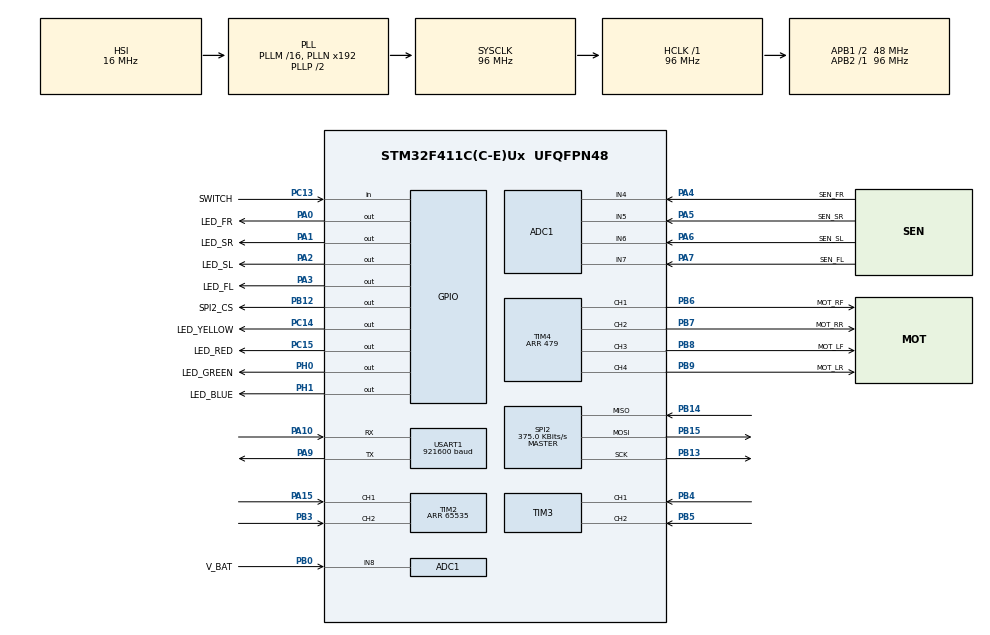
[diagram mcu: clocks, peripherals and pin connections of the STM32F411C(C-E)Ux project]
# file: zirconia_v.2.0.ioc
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ADC1.Channel-0\#ChannelRegularConversion=ADC_CHANNEL_8
ADC1.Channel-1\#ChannelRegularConversion=ADC_CHANNEL_8
ADC1.Channel-10\#ChannelRegularConversion=ADC_CHANNEL_8
ADC1.Channel-11\#ChannelRegularConversion=ADC_CHANNEL_8
ADC1.Channel-2\#ChannelRegularConversion=ADC_CHANNEL_4
ADC1.Channel-3\#ChannelRegularConversion=ADC_CHANNEL_4
ADC1.Channel-4\#ChannelRegularConversion=ADC_CHANNEL_7
ADC1.Channel-5\#ChannelRegularConversion=ADC_CHANNEL_7
ADC1.Channel-6\#ChannelRegularConversion=ADC_CHANNEL_5
ADC1.Channel-7\#ChannelRegularConversion=ADC_CHANNEL_5
ADC1.Channel-8\#ChannelRegularConversion=ADC_CHANNEL_6
ADC1.Channel-9\#ChannelRegularConversion=ADC_CHANNEL_6
ADC1.DMAContinuousRequests=ENABLE
ADC1.DiscontinuousConvMode=ENABLE
ADC1.EOCSelection=ADC_EOC_SEQ_CONV
ADC1.ExternalTrigConv=ADC_EXTERNALTRIGCONV_T1_CC3
ADC1.NbrOfConversion=12
ADC1.NbrOfConversionFlag=1
ADC1.Rank-0\#ChannelRegularConversion=1
ADC1.Rank-1\#ChannelRegularConversion=2
ADC1.Rank-10\#ChannelRegularConversion=11
ADC1.Rank-11\#ChannelRegularConversion=12
ADC1.Rank-2\#ChannelRegularConversion=3
ADC1.Rank-3\#ChannelRegularConversion=4
ADC1.Rank-4\#ChannelRegularConversion=5
ADC1.Rank-5\#ChannelRegularConversion=6
ADC1.Rank-6\#ChannelRegularConversion=7
ADC1.Rank-7\#ChannelRegularConversion=8
ADC1.Rank-8\#ChannelRegularConversion=9
ADC1.Rank-9\#ChannelRegularConversion=10
ADC1.SamplingTime-0\#ChannelRegularConversion=ADC_SAMPLETIME_112CYCLES
ADC1.SamplingTime-1\#ChannelRegularConversion=ADC_SAMPLETIME_112CYCLES
ADC1.SamplingTime-10\#ChannelRegularConversion=ADC_SAMPLETIME_112CYCLES
ADC1.SamplingTime-11\#ChannelRegularConversion=ADC_SAMPLETIME_112CYCLES
ADC1.SamplingTime-2\#ChannelRegularConversion=ADC_SAMPLETIME_112CYCLES
ADC1.SamplingTime-3\#ChannelRegularConversion=ADC_SAMPLETIME_112CYCLES
ADC1.SamplingTime-4\#ChannelRegularConversion=ADC_SAMPLETIME_112CYCLES
ADC1.SamplingTime-5\#ChannelRegularConversion=ADC_SAMPLETIME_112CYCLES
ADC1.SamplingTime-6\#ChannelRegularConversion=ADC_SAMPLETIME_112CYCLES
ADC1.SamplingTime-7\#ChannelRegularConversion=ADC_SAMPLETIME_112CYCLES
ADC1.SamplingTime-8\#ChannelRegularConversion=ADC_SAMPLETIME_112CYCLES
ADC1.SamplingTime-9\#ChannelRegularConversion=ADC_SAMPLETIME_112CYCLES
ADC1.ScanConvMode=ENABLE
ADC1.master=1
Dma.ADC1.0.Direction=DMA_PERIPH_TO_MEMORY
Dma.ADC1.0.FIFOMode=DMA_FIFOMODE_DISABLE
Dma.ADC1.0.Instance=DMA2_Stream0
Dma.ADC1.0.MemDataAlignment=DMA_MDATAALIGN_HALFWORD
Dma.ADC1.0.MemInc=DMA_MINC_ENABLE
Dma.ADC1.0.Mode=DMA_CIRCULAR
Dma.ADC1.0.PeriphDataAlignment=DMA_PDATAALIGN_HALFWORD
Dma.ADC1.0.PeriphInc=DMA_PINC_DISABLE
Dma.ADC1.0.Priority=DMA_PRIORITY_MEDIUM
Dma.Request0=ADC1
Dma.Request1=TIM1_CH1
Dma.Request2=TIM1_CH2
Dma.Request3=SPI2_RX
Dma.Request4=SPI2_TX
Dma.Request5=USART1_RX
Dma.Request6=USART1_TX
Dma.SPI2_RX.3.Direction=DMA_PERIPH_TO_MEMORY
Dma.SPI2_RX.3.FIFOMode=DMA_FIFOMODE_DISABLE
Dma.SPI2_RX.3.Instance=DMA1_Stream3
Dma.SPI2_RX.3.MemDataAlignment=DMA_MDATAALIGN_BYTE
Dma.SPI2_RX.3.MemInc=DMA_MINC_ENABLE
Dma.SPI2_RX.3.Mode=DMA_NORMAL
Dma.SPI2_RX.3.PeriphDataAlignment=DMA_PDATAALIGN_BYTE
Dma.SPI2_RX.3.PeriphInc=DMA_PINC_DISABLE
Dma.SPI2_RX.3.Priority=DMA_PRIORITY_VERY_HIGH
Dma.SPI2_TX.4.Direction=DMA_MEMORY_TO_PERIPH
Dma.SPI2_TX.4.FIFOMode=DMA_FIFOMODE_DISABLE
Dma.SPI2_TX.4.Instance=DMA1_Stream4
Dma.SPI2_TX.4.MemDataAlignment=DMA_MDATAALIGN_BYTE
Dma.SPI2_TX.4.MemInc=DMA_MINC_DISABLE
Dma.SPI2_TX.4.Mode=DMA_NORMAL
Dma.SPI2_TX.4.PeriphDataAlignment=DMA_PDATAALIGN_BYTE
Dma.SPI2_TX.4.PeriphInc=DMA_PINC_DISABLE
Dma.SPI2_TX.4.Priority=DMA_PRIORITY_VERY_HIGH
Dma.TIM1_CH1.1.Direction=DMA_MEMORY_TO_PERIPH
Dma.TIM1_CH1.1.FIFOMode=DMA_FIFOMODE_DISABLE
Dma.TIM1_CH1.1.Instance=DMA2_Stream1
Dma.TIM1_CH1.1.MemDataAlignment=DMA_MDATAALIGN_WORD
Dma.TIM1_CH1.1.MemInc=DMA_MINC_ENABLE
Dma.TIM1_CH1.1.Mode=DMA_CIRCULAR
Dma.TIM1_CH1.1.PeriphDataAlignment=DMA_PDATAALIGN_WORD
Dma.TIM1_CH1.1.PeriphInc=DMA_PINC_DISABLE
Dma.TIM1_CH1.1.Priority=DMA_PRIORITY_VERY_HIGH
Dma.TIM1_CH2.2.Direction=DMA_MEMORY_TO_PERIPH
Dma.TIM1_CH2.2.FIFOMode=DMA_FIFOMODE_DISABLE
Dma.TIM1_CH2.2.Instance=DMA2_Stream2
Dma.TIM1_CH2.2.MemDataAlignment=DMA_MDATAALIGN_WORD
Dma.TIM1_CH2.2.MemInc=DMA_MINC_DISABLE
Dma.TIM1_CH2.2.Mode=DMA_CIRCULAR
Dma.TIM1_CH2.2.PeriphDataAlignment=DMA_PDATAALIGN_WORD
Dma.TIM1_CH2.2.PeriphInc=DMA_PINC_DISABLE
Dma.TIM1_CH2.2.Priority=DMA_PRIORITY_VERY_HIGH
Dma.USART1_RX.5.Direction=DMA_PERIPH_TO_MEMORY
Dma.USART1_RX.5.FIFOMode=DMA_FIFOMODE_DISABLE
Dma.USART1_RX.5.Instance=DMA2_Stream5
Dma.USART1_RX.5.MemDataAlignment=DMA_MDATAALIGN_BYTE
Dma.USART1_RX.5.MemInc=DMA_MINC_ENABLE
Dma.USART1_RX.5.Mode=DMA_CIRCULAR
Dma.USART1_RX.5.PeriphDataAlignment=DMA_PDATAALIGN_BYTE
Dma.USART1_RX.5.PeriphInc=DMA_PINC_DISABLE
Dma.USART1_RX.5.Priority=DMA_PRIORITY_LOW
Dma.USART1_TX.6.Direction=DMA_MEMORY_TO_PERIPH
Dma.USART1_TX.6.FIFOMode=DMA_FIFOMODE_DISABLE
Dma.USART1_TX.6.Instance=DMA2_Stream7
Dma.USART1_TX.6.MemDataAlignment=DMA_MDATAALIGN_BYTE
Dma.USART1_TX.6.MemInc=DMA_MINC_ENABLE
Dma.USART1_TX.6.Mode=DMA_NORMAL
Dma.USART1_TX.6.PeriphDataAlignment=DMA_PDATAALIGN_BYTE
Dma.USART1_TX.6.PeriphInc=DMA_PINC_DISABLE
Dma.USART1_TX.6.Priority=DMA_PRIORITY_LOW
Mcu.Family=STM32F4
Mcu.Name=STM32F411C(C-E)Ux
Mcu.Package=UFQFPN48
NVIC.DMA1_Stream3_IRQn=true\:1\:0\:true\:false\:true\:false\:true\:true
NVIC.DMA1_Stream4_IRQn=true\:1\:0\:true\:false\:true\:false\:true\:true
NVIC.DMA2_Stream0_IRQn=true\:2\:0\:true\:false\:true\:false\:true\:true
NVIC.DMA2_Stream1_IRQn=true\:1\:0\:true\:false\:true\:false\:true\:true
NVIC.DMA2_Stream2_IRQn=true\:1\:0\:true\:false\:true\:false\:true\:true
NVIC.DMA2_Stream5_IRQn=true\:2\:0\:true\:false\:true\:false\:true\:true
NVIC.DMA2_Stream7_IRQn=true\:2\:0\:true\:false\:true\:false\:true\:true
NVIC.PriorityGroup=NVIC_PRIORITYGROUP_4
PA0-WKUP.GPIO_Label=LED_FR
PA0-WKUP.GPIO_Speed=GPIO_SPEED_FREQ_VERY_HIGH
PA0-WKUP.Signal=GPIO_Output
PA1.GPIO_Label=LED_SR
PA1.GPIO_Speed=GPIO_SPEED_FREQ_VERY_HIGH
PA1.Signal=GPIO_Output
PA10.Mode=Asynchronous
PA10.Signal=USART1_RX
PA13.Mode=Serial_Wire
PA13.Signal=SYS_JTMS-SWDIO
PA14.Mode=Serial_Wire
PA14.Signal=SYS_JTCK-SWCLK
PA15.Signal=S_TIM2_CH1_ETR
PA2.GPIO_Label=LED_SL
PA2.GPIO_Speed=GPIO_SPEED_FREQ_VERY_HIGH
PA2.Signal=GPIO_Output
PA3.GPIO_Label=LED_FL
PA3.GPIO_Speed=GPIO_SPEED_FREQ_VERY_HIGH
PA3.Signal=GPIO_Output
PA4.GPIO_Label=SEN_FR
PA4.Signal=ADCx_IN4
PA5.GPIO_Label=SEN_SR
PA5.Signal=ADCx_IN5
PA6.GPIO_Label=SEN_SL
PA6.Signal=ADCx_IN6
PA7.GPIO_Label=SEN_FL
PA7.Signal=ADCx_IN7
PA9.Mode=Asynchronous
PA9.Signal=USART1_TX
PB0.GPIO_Label=V_BAT
PB0.Signal=ADCx_IN8
PB12.GPIO_Label=SPI2_CS
PB12.GPIO_Speed=GPIO_SPEED_FREQ_VERY_HIGH
PB12.Signal=GPIO_Output
PB13.Mode=Full_Duplex_Master
PB13.Signal=SPI2_SCK
PB14.Mode=Full_Duplex_Master
PB14.Signal=SPI2_MISO
PB15.Mode=Full_Duplex_Master
PB15.Signal=SPI2_MOSI
PB3.Signal=S_TIM2_CH2
PB4.Signal=S_TIM3_CH1
PB5.Signal=S_TIM3_CH2
PB6.GPIO_Label=MOT_RF
PB6.GPIO_Speed=GPIO_SPEED_FREQ_VERY_HIGH
PB6.Signal=S_TIM4_CH1
PB7.GPIO_Label=MOT_RR
PB7.GPIO_Speed=GPIO_SPEED_FREQ_VERY_HIGH
PB7.Signal=S_TIM4_CH2
PB8.GPIO_Label=MOT_LF
PB8.GPIO_Speed=GPIO_SPEED_FREQ_VERY_HIGH
PB8.Signal=S_TIM4_CH3
PB9.GPIO_Label=MOT_LR
PB9.GPIO_Speed=GPIO_SPEED_FREQ_VERY_HIGH
PB9.Signal=S_TIM4_CH4
PC13-ANTI_TAMP.GPIO_Label=SWITCH
PC13-ANTI_TAMP.Signal=GPIO_Input
PC14-OSC32_IN.GPIO_Label=LED_YELLOW
PC14-OSC32_IN.Signal=GPIO_Output
PC15-OSC32_OUT.GPIO_Label=LED_RED
PC15-OSC32_OUT.Signal=GPIO_Output
PH0\ -\ OSC_IN.GPIO_Label=LED_GREEN
PH0\ -\ OSC_IN.Signal=GPIO_Output
PH1\ -\ OSC_OUT.GPIO_Label=LED_BLUE
PH1\ -\ OSC_OUT.Signal=GPIO_Output
ProjectManager.HeapSize=0x200
ProjectManager.StackSize=0x400
ProjectManager.TargetToolchain=STM32CubeIDE
RCC.AHBFreq_Value=96000000
RCC.APB1CLKDivider=RCC_HCLK_DIV2
RCC.APB1Freq_Value=48000000
RCC.APB1TimFreq_Value=96000000
RCC.APB2Freq_Value=96000000
RCC.APB2TimFreq_Value=96000000
RCC.CortexFreq_Value=96000000
RCC.HCLKFreq_Value=96000000
RCC.HSE_VALUE=25000000
RCC.HSI_VALUE=16000000
RCC.LSE_VALUE=32768
RCC.SYSCLKFreq_VALUE=96000000
RCC.SYSCLKSource=RCC_SYSCLKSOURCE_PLLCLK
RCC.VCOOutputFreq_Value=192000000
RCC.VDD_VALUE=3
SH.ADCx_IN4.0=ADC1_IN4,IN4
SH.ADCx_IN5.0=ADC1_IN5,IN5
SH.ADCx_IN6.0=ADC1_IN6,IN6
SH.ADCx_IN7.0=ADC1_IN7,IN7
SH.ADCx_IN8.0=ADC1_IN8,IN8
SH.S_TIM2_CH1_ETR.0=TIM2_CH1,Encoder_Interface
SH.S_TIM2_CH2.0=TIM2_CH2,Encoder_Interface
SH.S_TIM3_CH1.0=TIM3_CH1,Encoder_Interface
SH.S_TIM3_CH2.0=TIM3_CH2,Encoder_Interface
SH.S_TIM4_CH1.0=TIM4_CH1,PWM Generation1 CH1
SH.S_TIM4_CH2.0=TIM4_CH2,PWM Generation2 CH2
SH.S_TIM4_CH3.0=TIM4_CH3,PWM Generation3 CH3
SH.S_TIM4_CH4.0=TIM4_CH4,PWM Generation4 CH4
SPI2.BaudRatePrescaler=SPI_BAUDRATEPRESCALER_128
SPI2.CLKPhase=SPI_PHASE_2EDGE
SPI2.CLKPolarity=SPI_POLARITY_HIGH
SPI2.CalculateBaudRate=375.0 KBits/s
SPI2.Direction=SPI_DIRECTION_2LINES
SPI2.Mode=SPI_MODE_MASTER
SPI2.VirtualType=VM_MASTER
TIM1.Channel-PWM\ Generation1\ No\ Output=TIM_CHANNEL_1
TIM1.Channel-PWM\ Generation2\ No\ Output=TIM_CHANNEL_2
TIM1.Channel-PWM\ Generation3\ No\ Output=TIM_CHANNEL_3
TIM1.OCMode_PWM-PWM\ Generation1\ No\ Output=TIM_OCMODE_PWM2
TIM1.OCMode_PWM-PWM\ Generation2\ No\ Output=TIM_OCMODE_PWM2
TIM1.OCMode_PWM-PWM\ Generation3\ No\ Output=TIM_OCMODE_PWM2
TIM1.Period=8000-1
TIM1.Pulse-PWM\ Generation1\ No\ Output=1
TIM1.Pulse-PWM\ Generation2\ No\ Output=2401
TIM1.Pulse-PWM\ Generation3\ No\ Output=1921
TIM2.EncoderMode=TIM_ENCODERMODE_TI12
TIM2.Period=65535
TIM3.EncoderMode=TIM_ENCODERMODE_TI12
TIM4.Channel-PWM\ Generation1\ CH1=TIM_CHANNEL_1
TIM4.Channel-PWM\ Generation2\ CH2=TIM_CHANNEL_2
TIM4.Channel-PWM\ Generation3\ CH3=TIM_CHANNEL_3
TIM4.Channel-PWM\ Generation4\ CH4=TIM_CHANNEL_4
TIM4.OCMode_PWM-PWM\ Generation1\ CH1=TIM_OCMODE_PWM2
TIM4.OCMode_PWM-PWM\ Generation2\ CH2=TIM_OCMODE_PWM2
TIM4.OCMode_PWM-PWM\ Generation3\ CH3=TIM_OCMODE_PWM2
TIM4.OCMode_PWM-PWM\ Generation4\ CH4=TIM_OCMODE_PWM2
TIM4.Period=479
TIM5.Period=0xFFFF
TIM5.Prescaler=31
USART1.BaudRate=921600
USART1.VirtualMode=VM_ASYNC
VP_TIM1_VS_ClockSourceINT.Mode=Internal
VP_TIM1_VS_no_output1.Mode=PWM Generation1 No Output
VP_TIM1_VS_no_output2.Mode=PWM Generation2 No Output
VP_TIM1_VS_no_output3.Mode=PWM Generation3 No Output
VP_TIM4_VS_ClockSourceINT.Mode=Internal
VP_TIM5_VS_ClockSourceINT.Mode=Internal
board=custom

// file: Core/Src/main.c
/* USER CODE BEGIN Header */
/**
 ******************************************************************************
 * @file           : main.c
 * @brief          : Main program body
 ******************************************************************************
 * @attention
 *
 * Copyright (c) 2023 STMicroelectronics.
 * All rights reserved.
 *
 * This software is licensed under terms that can be found in the LICENSE file
 * in the root directory of this software component.
 * If no LICENSE file comes with this software, it is provided AS-IS.
 *
 ******************************************************************************
 */
/* USER CODE END Header */
#include "main.h"

#include "adc.h"
#include "dma.h"
#include "gpio.h"
#include "spi.h"
#include "tim.h"
#include "usart.h"

/* USER CODE BEGIN Includes */
#include "module_index.h"
/* USER CODE END Includes */

void SystemClock_Config(void);

int main(void) {

    /* MCU Configuration--------------------------------------------------------*/

    /* Reset of all peripherals, Initializes the Flash interface and the Systick.
     */
    HAL_Init();

    /* Configure the system clock */
    SystemClock_Config();

    /* Initialize all configured peripherals */
    MX_GPIO_Init();
    MX_DMA_Init();
    MX_USART1_UART_Init();
    MX_ADC1_Init();
    MX_TIM1_Init();
    MX_TIM2_Init();
    MX_TIM3_Init();
    MX_TIM4_Init();
    MX_TIM5_Init();
    MX_SPI2_Init();
    /* USER CODE BEGIN 2 */
    LED_ALL_ON();              // LED全点灯
    Communicate_Initialize();  // ターミナルとの通信初期設�?
    Motor_Initialize();        // モータ用タイマ�?�期設�?
    Encoder_Initialize();      // エンコー�?ー用タイマ�?�期設�?
    IMU_Initialize();          // IMU用通信およびICM42688Pの初期設�?
    Sensor_Initialize();       // 壁センサ用AD変換およびタイマ�?�期設�?
    Interrupt_Initialize();    // メイン割り込み処�?の初期設�?
    Myshell_Initialize();      // シェルの初期設�?

    Battery_LimiterVoltage();  // バッ�?リの電圧管�?
    module_test();             // �?機�?�の動作確認（動作確認が完�?したらコメントアウトして下さ�?�?
    /* USER CODE END 2 */

    /* Infinite loop */
    /* USER CODE BEGIN WHILE */

    float target_straight_velocity = 0;  // 目標速度[ms^-1]
    float target_rotate_velocity = 0;
    float current_straight_velocity;
    float current_rotate_velocity;
    float TIRE_RADIUS = 13 / 2;  // タイヤの半径[mm]

    float pid_straight_proportional_diff = 0;
    float pid_straight_integral_diff = 0;
    float pid_straight_differential_diff = 0;
    float pid_straight_differential_diff_before = 0;

    float pid_rotate_proportional_diff = 0;
    float pid_rotate_integral_diff = 0;
    float pid_rotate_differential_diff = 0;
    float pid_rotate_differential_diff_before = 0;

    float Kp_straight = 3, Ki_straight = 0, Kd_straight = 0;
    float Kp_rotate = 0, Ki_rotate = 0, Kd_rotate = 0;

    float duty_l = 0, duty_r = 0;  // dutyは0~1000 "Module\src\motor.c"

    while (1) {
        /* USER CODE END WHILE */

        /* USER CODE BEGIN 3 */
        // ここにメインループ�?�処�?を記述する
        // Myshell_Execute();

        // 1. 現在速を計算する

        current_straight_velocity = TIRE_RADIUS * (Encoder_GetAngle_Left() + Encoder_GetAngle_Right()) / 2;  // mm/ms
        current_rotate_velocity = IMU_GetGyro_Z();                                                           // rad/s

        // 2. 目標との差分を計算する
        pid_straight_proportional_diff = target_straight_velocity - current_straight_velocity;
        pid_straight_integral_diff += pid_straight_proportional_diff;
        pid_straight_differential_diff = pid_straight_differential_diff_before - pid_straight_proportional_diff;
        pid_straight_differential_diff_before = pid_straight_differential_diff;

        pid_rotate_proportional_diff = target_rotate_velocity - current_rotate_velocity;
        pid_rotate_integral_diff += pid_rotate_proportional_diff;
        pid_rotate_differential_diff = pid_rotate_differential_diff_before - pid_rotate_proportional_diff;
        pid_rotate_differential_diff_before = pid_rotate_differential_diff;

        // 3. PID制御 右が正
        duty_r = Kp_straight * pid_straight_proportional_diff + Ki_straight * pid_straight_integral_diff +
                 Kd_straight * pid_straight_differential_diff +
                 (Kp_rotate * pid_rotate_proportional_diff + Ki_rotate * pid_rotate_integral_diff + Kd_rotate * pid_rotate_differential_diff);
        duty_l = Kp_straight * pid_straight_proportional_diff + Ki_straight * pid_straight_integral_diff +
                 Kd_straight * pid_straight_differential_diff -
                 (Kp_rotate * pid_rotate_proportional_diff + Ki_rotate * pid_rotate_integral_diff + Kd_rotate * pid_rotate_differential_diff);

        duty_r = SIGN(duty_r) * MIN(950, ABS(duty_r));
        duty_l = SIGN(duty_l) * MIN(950, ABS(duty_l));

        // 4. Dutyをつっこむ
        Motor_SetDuty_Left(duty_l);
        Motor_SetDuty_Right(duty_r);

        // 5. 制御周期は1msだから1msまつ
        HAL_Delay(1);
    }
    /* USER CODE END 3 */
}

void SystemClock_Config(void) {
    RCC_OscInitTypeDef RCC_OscInitStruct = {0};
    RCC_ClkInitTypeDef RCC_ClkInitStruct = {0};

    /** Configure the main internal regulator output voltage
     */
    __HAL_RCC_PWR_CLK_ENABLE();
    __HAL_PWR_VOLTAGESCALING_CONFIG(PWR_REGULATOR_VOLTAGE_SCALE1);

    /** Initializes the RCC Oscillators according to the specified parameters
     * in the RCC_OscInitTypeDef structure.
     */
    RCC_OscInitStruct.OscillatorType = RCC_OSCILLATORTYPE_HSI;
    RCC_OscInitStruct.HSIState = RCC_HSI_ON;
    RCC_OscInitStruct.HSICalibrationValue = RCC_HSICALIBRATION_DEFAULT;
    RCC_OscInitStruct.PLL.PLLState = RCC_PLL_ON;
    RCC_OscInitStruct.PLL.PLLSource = RCC_PLLSOURCE_HSI;
    RCC_OscInitStruct.PLL.PLLM = 16;
    RCC_OscInitStruct.PLL.PLLN = 192;
    RCC_OscInitStruct.PLL.PLLP = RCC_PLLP_DIV2;
    RCC_OscInitStruct.PLL.PLLQ = 4;
    if (HAL_RCC_OscConfig(&RCC_OscInitStruct) != HAL_OK) {
        Error_Handler();
    }

    /** Initializes the CPU, AHB and APB buses clocks
     */
    RCC_ClkInitStruct.ClockType = RCC_CLOCKTYPE_HCLK | RCC_CLOCKTYPE_SYSCLK | RCC_CLOCKTYPE_PCLK1 | RCC_CLOCKTYPE_PCLK2;
    RCC_ClkInitStruct.SYSCLKSource = RCC_SYSCLKSOURCE_PLLCLK;
    RCC_ClkInitStruct.AHBCLKDivider = RCC_SYSCLK_DIV1;
    RCC_ClkInitStruct.APB1CLKDivider = RCC_HCLK_DIV2;
    RCC_ClkInitStruct.APB2CLKDivider = RCC_HCLK_DIV1;

    if (HAL_RCC_ClockConfig(&RCC_ClkInitStruct, FLASH_LATENCY_3) != HAL_OK) {
        Error_Handler();
    }
}

void Error_Handler(void) {
    __disable_irq();
    while (1) {}
}

#ifdef USE_FULL_ASSERT
/**
 * @brief  Reports the name of the source file and the source line number
 *         where the assert_param error has occurred.
 * @param  file: pointer to the source file name
 * @param  line: assert_param error line source number
 * @retval None
 */
void assert_failed(uint8_t *file, uint32_t line) {
    /* USER CODE BEGIN 6 */
    /* User can add his own implementation to report the file name and line
       number, ex: printf("Wrong parameters value: file %s on line %d\r\n", file,
       line) */
    /* USER CODE END 6 */
}
#endif /* USE_FULL_ASSERT */
